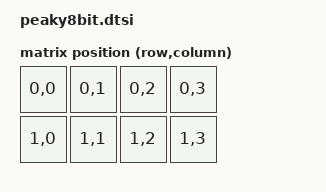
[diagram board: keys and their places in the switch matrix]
// Peaky 8-bit shield common definitions
// Direct GPIO scan (4 keys per side)

#include <dt-bindings/zmk/matrix_transform.h>
#include "peaky8bit-layouts.dtsi"

/ {
    chosen {
        zmk,kscan = &kscan;
        zmk,physical-layout = &default_layout;
    };

    kscan: kscan {
        compatible = "zmk,kscan-gpio-direct";
        wakeup-source;
        // input-gpios are defined per-side in _left.overlay and _right.overlay
    };

    default_transform: default_transform {
        compatible = "zmk,matrix-transform";
        columns = <4>;
        rows = <2>;
        map = 
            RC(0, 0) RC(0, 1) RC(0, 2) RC(0, 3)
            RC(1, 0) RC(1, 1) RC(1, 2) RC(1, 3)
        >;
    };
};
